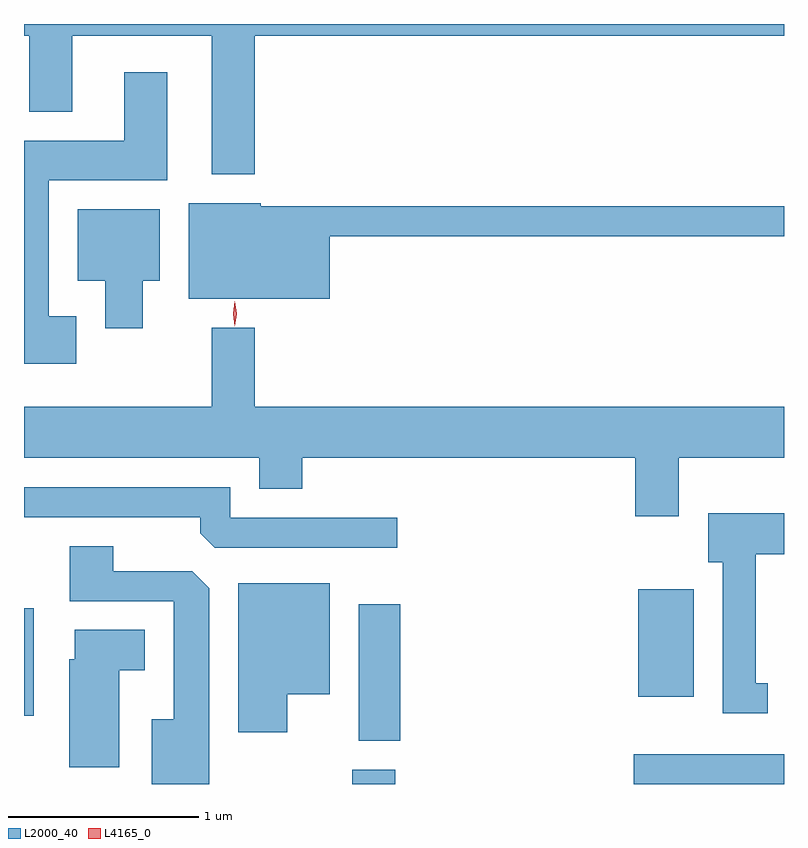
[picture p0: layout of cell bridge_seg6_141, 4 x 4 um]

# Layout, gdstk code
import gdstk
lib = gdstk.Library(unit=1e-6, precision=1e-09)
def R(c, l, rs):  # rectangles x0, y0, x1, y1
    for r in rs: c.add(gdstk.rectangle(r[:2], r[2:], *l))
def P(c, l, *ps):  # polygons
    for p in ps: c.add(gdstk.Polygon(p, *l))
L2000_40 = (2000, 40)
L4165_0 = (4165, 0)

bridge_seg6_141 = lib.new_cell('bridge_seg6_141')
R(bridge_seg6_141, L2000_40, [(1021.471,1621.578,1021.699,1621.654), (1022.953,1621.578,1023.744,1621.734), (1021.506,1621.806,1021.724,1622.524), (1019.744,1621.936,1019.794,1622.504), (1022.976,1622.036,1023.269,1622.604)])
P(bridge_seg6_141, L2000_40, [(1020.959,1625.516),(1023.744,1625.516),(1023.744,1625.578),(1019.744,1625.578),(1019.744,1625.516),(1019.771,1625.516),(1019.771,1625.116),(1019.999,1625.116),(1019.999,1625.516),(1020.731,1625.516),(1020.731,1624.786),(1020.959,1624.786)],
  [(1020.019,1624.039),(1019.874,1624.039),(1019.874,1624.756),(1020.499,1624.756),(1020.499,1625.324),(1020.271,1625.324),(1020.271,1624.964),(1019.744,1624.964),(1019.744,1623.791),(1020.019,1623.791)],
  [(1021.354,1624.461),(1023.744,1624.461),(1023.744,1624.619),(1020.99,1624.619),(1020.99,1624.634),(1020.611,1624.634),(1020.611,1624.131),(1021.354,1624.131)],
  [(1020.369,1624.226),(1020.459,1624.226),(1020.459,1624.604),(1020.026,1624.604),(1020.026,1624.226),(1020.171,1624.226),(1020.171,1623.976),(1020.369,1623.976)],
  [(1023.189,1623.296),(1023.744,1623.296),(1023.744,1623.564),(1020.959,1623.564),(1020.959,1623.979),(1020.731,1623.979),(1020.731,1623.564),(1019.744,1623.564),(1019.744,1623.296),(1020.981,1623.296),(1020.981,1623.131),(1021.209,1623.131),(1021.209,1623.296),(1022.961,1623.296),(1022.961,1622.986),(1023.189,1622.986)],
  [(1021.708,1622.979),(1020.829,1622.979),(1020.829,1623.139),(1019.744,1623.139),(1019.744,1622.981),(1020.671,1622.981),(1020.671,1622.897),(1020.747,1622.821),(1021.708,1622.821)],
  [(1023.658,1622.109),(1023.594,1622.109),(1023.594,1622.786),(1023.744,1622.786),(1023.744,1623.004),(1023.346,1623.004),(1023.346,1622.746),(1023.421,1622.746),(1023.421,1621.951),(1023.658,1621.951)],
  [(1020.719,1622.609),(1020.629,1622.699),(1020.214,1622.699),(1020.214,1622.829),(1019.986,1622.829),(1019.986,1622.541),(1020.531,1622.541),(1020.531,1621.919),(1020.416,1621.919),(1020.416,1621.578),(1020.719,1621.578)],
  [(1021.129,1622.051),(1021.354,1622.051),(1021.354,1622.634),(1020.871,1622.634),(1020.871,1621.851),(1021.129,1621.851)],
  [(1020.244,1622.176),(1020.379,1622.176),(1020.379,1622.389),(1020.011,1622.389),(1020.011,1622.234),(1019.981,1622.234),(1019.981,1621.666),(1020.244,1621.666)])
P(bridge_seg6_141, L4165_0, [(1020.853,1623.986),(1020.853,1623.986),(1020.844,1624.052),(1020.853,1624.119),(1020.854,1624.119),(1020.854,1624.119),(1020.864,1624.052),(1020.854,1623.986)])

lib.write_gds('bridge_seg6_141.gds')
